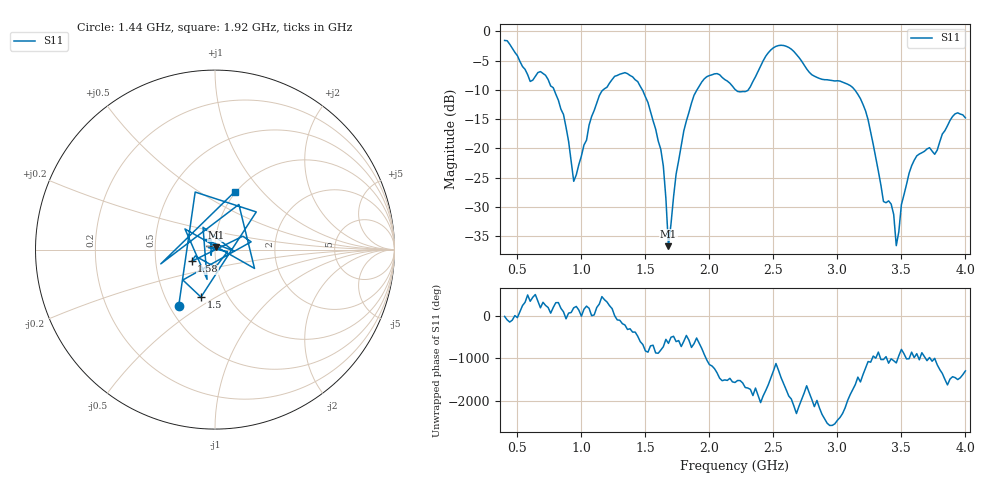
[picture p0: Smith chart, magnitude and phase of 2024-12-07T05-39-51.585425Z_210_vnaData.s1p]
!Created with skrf (http://scikit-rf.org).
# Hz S RI R 50.0
!freq ReS11 ImS11
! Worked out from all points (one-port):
!   181 points, 400 MHz to 4 GHz, reference 50 ohm
!   lowest |S11| = -36.7 dB at 1.68 GHz (marker M1), VSWR 1.03, Z = 50.5 + j1.38 ohm
!   |S11| at or under -10 dB: 786.8 MHz to 1.17 GHz (383 MHz wide, 39.1 % of centre); 1.476 GHz to 1.903 GHz (426.8 MHz wide, 25.3 % of centre); 3.136 GHz to end of sweep (the widest 3 of 4)
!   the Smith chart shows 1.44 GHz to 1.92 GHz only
!   S11 on the Smith chart (normalised r, x): 1.44 GHz: 0.56, -0.41; 1.5 GHz: 0.75, -0.43; 1.58 GHz: 0.76, -0.10; 1.92 GHz: 0.99, +0.72
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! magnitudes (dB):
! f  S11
! 400 MHz  -1.5
! 600 MHz  -8.6
! 720 MHz  -7.5
! 860 MHz  -14.2
! 940 MHz  -25.6
! 1.14 GHz  -11.0
! 1.3 GHz  -7.3
! 1.44 GHz  -8.6
! 1.5 GHz  -11.2
! 1.58 GHz  -16.7
! 1.64 GHz  -23.0
! 1.68 GHz  -36.7
! 1.76 GHz  -22.1
! 1.92 GHz  -9.4
! 2.06 GHz  -7.2
! 2.2 GHz  -9.9
! 2.3 GHz  -10.1
! 2.5 GHz  -2.8
! 2.66 GHz  -3.4
! 3.1 GHz  -9.3
! 3.22 GHz  -13.6
! 3.36 GHz  -29.1
! 3.44 GHz  -31.3
! 3.46 GHz  -36.6
! 3.56 GHz  -24.3
! 3.76 GHz  -21.0
! 3.92 GHz  -14.1
! 4 GHz  -14.8
